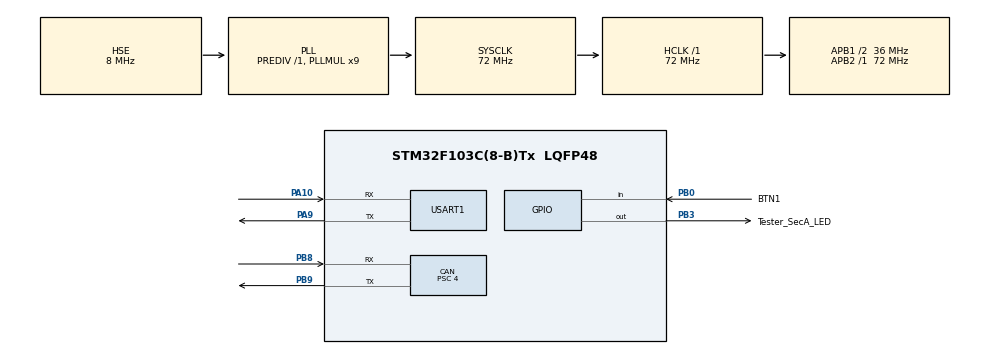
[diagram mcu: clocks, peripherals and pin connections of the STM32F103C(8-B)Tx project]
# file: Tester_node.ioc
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CAN.BS1=CAN_BS1_13TQ
CAN.BS2=CAN_BS2_4TQ
CAN.CalculateBaudRate=500000
CAN.CalculateTimeBit=2000
CAN.CalculateTimeQuantum=111.11111111111111
CAN.NART=ENABLE
CAN.Prescaler=4
CAN.SJW=CAN_SJW_2TQ
FREERTOS.Tasks01=Service_ComTask,24,256,StartService_ComTask,Default,NULL,Dynamic,NULL,NULL;ButtonTask,24,256,StartTaskButton,Default,NULL,Dynamic,NULL,NULL
Mcu.Family=STM32F1
Mcu.Name=STM32F103C(8-B)Tx
Mcu.Package=LQFP48
NVIC.CAN1_RX1_IRQn=true\:5\:0\:false\:false\:true\:true\:true\:true\:true
NVIC.PriorityGroup=NVIC_PRIORITYGROUP_4
NVIC.TIM1_UP_IRQn=true\:15\:0\:false\:false\:true\:false\:false\:true\:true
NVIC.TIM4_IRQn=true\:5\:0\:true\:false\:true\:true\:true\:true\:true
NVIC.TimeBase=TIM1_UP_IRQn
NVIC.TimeBaseIP=TIM1
NVIC.USART1_IRQn=true\:5\:0\:false\:false\:true\:true\:true\:true\:true
PA10.Mode=Asynchronous
PA10.Signal=USART1_RX
PA13.Mode=Serial_Wire
PA13.Signal=SYS_JTMS-SWDIO
PA14.Mode=Serial_Wire
PA14.Signal=SYS_JTCK-SWCLK
PA9.Mode=Asynchronous
PA9.Signal=USART1_TX
PB0.GPIO_Label=BTN1
PB0.GPIO_PuPd=GPIO_PULLUP
PB0.Signal=GPIO_Input
PB3.GPIO_Label=Tester_SecA_LED
PB3.GPIO_Speed=GPIO_SPEED_FREQ_HIGH
PB3.Signal=GPIO_Output
PB8.Mode=CAN_Activate
PB8.Signal=CAN_RX
PB9.Mode=CAN_Activate
PB9.Signal=CAN_TX
PD0-OSC_IN.Mode=HSE-External-Oscillator
PD0-OSC_IN.Signal=RCC_OSC_IN
PD1-OSC_OUT.Mode=HSE-External-Oscillator
PD1-OSC_OUT.Signal=RCC_OSC_OUT
ProjectManager.HeapSize=0x200
ProjectManager.StackSize=0x400
ProjectManager.TargetToolchain=STM32CubeIDE
RCC.AHBFreq_Value=72000000
RCC.APB1CLKDivider=RCC_HCLK_DIV2
RCC.APB1Freq_Value=36000000
RCC.APB1TimFreq_Value=72000000
RCC.APB2Freq_Value=72000000
RCC.APB2TimFreq_Value=72000000
RCC.HCLKFreq_Value=72000000
RCC.PLLMUL=RCC_PLL_MUL9
RCC.PLLSourceVirtual=RCC_PLLSOURCE_HSE
RCC.SYSCLKFreq_VALUE=72000000
RCC.SYSCLKSource=RCC_SYSCLKSOURCE_PLLCLK
RCC.USBFreq_Value=72000000
TIM4.AutoReloadPreload=TIM_AUTORELOAD_PRELOAD_ENABLE
TIM4.Period=9
TIM4.Prescaler=7199
USART1.VirtualMode=VM_ASYNC
VP_FREERTOS_VS_CMSIS_V2.Mode=CMSIS_V2
VP_SYS_VS_tim1.Mode=TIM1
VP_TIM4_VS_ClockSourceINT.Mode=Internal
board=custom

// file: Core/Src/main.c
/* USER CODE BEGIN Header */
/**
  ******************************************************************************
  * @file           : main.c
  * @brief          : Main program body
  * @identity		: Tester module
  ******************************************************************************
  * @attention
  *
  * Copyright (c) 2023 STMicroelectronics.
  * All rights reserved.
  *
  * This software is licensed under terms that can be found in the LICENSE file
  * in the root directory of this software component.
  * If no LICENSE file comes with this software, it is provided AS-IS.
  *
  ******************************************************************************
  */
/* USER CODE END Header */
#include "main.h"
#include "cmsis_os.h"

/* USER CODE BEGIN Includes */
#include "stdint.h"
#include "string.h"
#include "stdio.h"
#include "button.h"
/* USER CODE END Includes */

/* USER CODE BEGIN PTD */
//Tester module state define
typedef enum
{
	INIT_STATE,
	REQUEST_READ,
	REQUEST_WRITE,
	REQUEST_SECURITY_ACCESS,
}Tester_Status;

typedef enum
{
	REQUEST_SEED,
	SEND_KEY,
	AUTHENTICATE_RESPONSE,
}Security_Status;

typedef enum
{
	FIRSTFRAME_SEND,
	FlOWCONTROL_CHECK,
	CONSECUTIVEFRAME_SEND,
}Multiflow_Status;

typedef enum
{
	CONTINUE_TO_SEND,
	WAIT,
	OVERFLOW,
}Flow_State;

typedef enum
{
	SEND_WRITEREQUEST,
	WRITE_RESPONSE,
}Write_Status;

typedef enum
{
	NOT_PRESS,
	IS_PRESS,
}Button_Status;

/* USER CODE END PTD */

/* USER CODE BEGIN PD */
/*Diagnostic Message Format*/
#define FT_SINGLEFRAME 0x00
#define FT_FIRSTFRAME 0x10
#define FT_CONSECUTIVEFRAME 0x20
#define FT_FLOWCONTROL 0x30
/*Diagnostic Message Format*/

/*Define Data Length*/
#define KEY_LENGTH 16
/*Define Data Length*/

/* USER CODE END PD */

CAN_HandleTypeDef hcan;

TIM_HandleTypeDef htim4;

UART_HandleTypeDef huart1;

/* Definitions for Service_ComTask */
osThreadId_t Service_ComTaskHandle;
const osThreadAttr_t Service_ComTask_attributes = {
  .name = "Service_ComTask",
  .stack_size = 256 * 4,
  .priority = (osPriority_t) osPriorityNormal,
};
/* Definitions for ButtonTask */
osThreadId_t ButtonTaskHandle;
const osThreadAttr_t ButtonTask_attributes = {
  .name = "ButtonTask",
  .stack_size = 256 * 4,
  .priority = (osPriority_t) osPriorityNormal,
};
/* USER CODE BEGIN PV */
CAN_TxHeaderTypeDef Tester_TxHeader;
CAN_RxHeaderTypeDef Tester_RxHeader;

uint32_t Tester_TxMailbox;

uint8_t ReadRq_TxData[8] = {0x03,0x22,0x01,0x23,0x00,0x00,0x00,0x00};

uint8_t Tester_RxData[8];

uint8_t SecARq_TxData[8] = {0x02,0x27,0x01,0x00,0x00,0x00,0x00,0x00};
uint8_t UnlockRq_TxData[8];
uint8_t KeySend_TxData[8];
uint8_t WriteRq_TxData[8] = {0x07,0x2E,0x01,0x023,'H','A','N','A'};

uint8_t Tx_Buffer[55];

uint8_t FT_String,FrameType;

uint8_t flag_read_response = 0, security_flag = 0;
uint8_t error_flag = 0;
uint8_t request_seedsend_flag = 0;
uint8_t send_firstframe_flag = 0;

uint16_t timer_cnt = 0;
uint16_t index_array;
uint16_t prev_index_array = 0;

//---- button handle variable ----
Button_Typedef BTN1;
uint8_t button_sig = 0; //thay doi gia tri bien de doc/ ghi
//button sig = 0 -> Doc du lieu cua ECU
//button sig = 1 -> Ghi du lieu vao ECU theo co che: SecA -> Write

//khai bao bien luu trang thai hien tai cua tester
Tester_Status tester_state;
Security_Status security_state = 0;
Multiflow_Status multiflow_state = 0;
Flow_State flow_state;
Write_Status write_state;
Button_Status button_state;
Button_Typedef BTN1;

/*KEY security*/
uint8_t key[16];
/*SEED security recieve*/
uint8_t seed[4];

uint8_t MaxConsecutiveFrame_count = 16/7 + 1;
uint8_t sequence_num=1;

/* USER CODE END PV */

void SystemClock_Config(void);
static void MX_GPIO_Init(void);
static void MX_CAN_Init(void);
static void MX_TIM4_Init(void);
static void MX_USART1_UART_Init(void);
void StartService_ComTask(void *argument);
void StartTaskButton(void *argument);

/* USER CODE BEGIN PFP */
void ReadFirstFrame_handle(void);
void ConscutiveFrameRead_handle(void);
uint8_t GetFrameType(uint8_t FT_byteString);
uint8_t SF_N_PCI_FrameTypeHandle(uint8_t byteString);
void ReadSingleFrame_handle(void);
/* USER CODE END PFP */

/* USER CODE BEGIN 0 */
void button_shortpressing_callback_500ms(Button_Typedef *ButtonX)
{
	if(ButtonX == &BTN1){
		button_sig = 1;
	}
}
void button_longpressing_callback_500ms(Button_Typedef *ButtonX)
{
	if(ButtonX == &BTN1){
		button_sig = 1;
	}
}

void HAL_CAN_RxFifo1MsgPendingCallback(CAN_HandleTypeDef *hcan)
{
	if(HAL_CAN_GetRxMessage(hcan, CAN_RX_FIFO1, &Tester_RxHeader, Tester_RxData) != HAL_OK)
	{
		error_flag = 1;
	}
	else
	{
		flag_read_response = 1;
		error_flag = 0;
	}
}

uint8_t GetFrameType(uint8_t FT_byteString) //Frame type co the dung chung cho SF FF
{
	uint8_t FT_res;
	switch(FT_byteString)
	{
		case 0x00: //single frame
		{
			FT_res = 0;
			break;
		}
		case 0x01: //first frame
		{
			FT_res = 1;
			break;
		}
		case 0x02: //consecutive frame
		{
			FT_res = 2;
			break;
		}
		case 0x03: //flow control
		{
			FT_res = 3;
			break;
		}
	}
	return FT_res;
}

uint8_t SF_N_PCI_FrameTypeHandle(uint8_t byteString) //SF_PCI: Single Frame Protocol Control Info: FT + DL
{
	return (byteString >> 4) & 0x03;
}

void ReadSingleFrame_handle(void)
{
	//oled debugger - in ra du lieu vua nhan duoc thong qua single frame
	memset(Tx_Buffer,0,sizeof(Tx_Buffer)); //clear buffer before write
	sprintf((char*)Tx_Buffer,"%s",Tester_RxData);
	HAL_UART_Transmit(&huart1,Tx_Buffer,sizeof(Tx_Buffer), 10);

	HAL_Delay(200);
}

/* USER CODE END 0 */

int main(void)
{

  /* MCU Configuration--------------------------------------------------------*/

  /* Reset of all peripherals, Initializes the Flash interface and the Systick. */
  HAL_Init();

  /* Configure the system clock */
  SystemClock_Config();

  /* Initialize all configured peripherals */
  MX_GPIO_Init();
  MX_CAN_Init();
  MX_TIM4_Init();
  MX_USART1_UART_Init();
  /* USER CODE BEGIN 2 */

  HAL_CAN_Init(&hcan);

  //Send notify signal to recieve message from actuator node
  HAL_CAN_ActivateNotification(&hcan, CAN_IT_RX_FIFO1_MSG_PENDING);

  CAN_FilterTypeDef canfilterconfig;

  canfilterconfig.FilterActivation = CAN_FILTER_ENABLE;
  canfilterconfig.FilterBank = 1;  // anything between 0 to SlaveStartFilterBank
  canfilterconfig.FilterFIFOAssignment = CAN_RX_FIFO1;
  canfilterconfig.FilterIdHigh = 0x7A2 << 5;
  canfilterconfig.FilterIdLow = 0x0000;
  canfilterconfig.FilterMaskIdHigh = 0x7A2 << 5;
  canfilterconfig.FilterMaskIdLow = 0x0000;
  canfilterconfig.FilterMode = CAN_FILTERMODE_IDMASK;
  canfilterconfig.FilterScale = CAN_FILTERSCALE_32BIT;
   //canfilterconfig.SlaveStartFilterBank = 14;
  HAL_CAN_ConfigFilter(&hcan, &canfilterconfig);
  HAL_CAN_Start(&hcan);

  //Config CAN header
  Tester_TxHeader.DLC = 8;
  Tester_TxHeader.ExtId = 0;
  Tester_TxHeader.IDE = CAN_ID_STD;
  Tester_TxHeader.RTR = CAN_RTR_DATA;
  Tester_TxHeader.StdId = 0x712;
  Tester_TxHeader.TransmitGlobalTime = DISABLE;

  HAL_TIM_Base_Start_IT(&htim4);
  /* USER CODE END 2 */

  /* Init scheduler */
  osKernelInitialize();

  /* Create the thread(s) */
  /* creation of Service_ComTask */
  Service_ComTaskHandle = osThreadNew(StartService_ComTask, NULL, &Service_ComTask_attributes);

  /* creation of ButtonTask */
  ButtonTaskHandle = osThreadNew(StartTaskButton, NULL, &ButtonTask_attributes);

  /* Start scheduler */
  osKernelStart();

  /* We should never get here as control is now taken by the scheduler */
  /* Infinite loop */
  while (1)
  {

  }
}

void SystemClock_Config(void)
{
  RCC_OscInitTypeDef RCC_OscInitStruct = {0};
  RCC_ClkInitTypeDef RCC_ClkInitStruct = {0};

  /** Initializes the RCC Oscillators according to the specified parameters
  * in the RCC_OscInitTypeDef structure.
  */
  RCC_OscInitStruct.OscillatorType = RCC_OSCILLATORTYPE_HSE;
  RCC_OscInitStruct.HSEState = RCC_HSE_ON;
  RCC_OscInitStruct.HSEPredivValue = RCC_HSE_PREDIV_DIV1;
  RCC_OscInitStruct.HSIState = RCC_HSI_ON;
  RCC_OscInitStruct.PLL.PLLState = RCC_PLL_ON;
  RCC_OscInitStruct.PLL.PLLSource = RCC_PLLSOURCE_HSE;
  RCC_OscInitStruct.PLL.PLLMUL = RCC_PLL_MUL9;
  if (HAL_RCC_OscConfig(&RCC_OscInitStruct) != HAL_OK)
  {
    Error_Handler();
  }

  /** Initializes the CPU, AHB and APB buses clocks
  */
  RCC_ClkInitStruct.ClockType = RCC_CLOCKTYPE_HCLK|RCC_CLOCKTYPE_SYSCLK
                              |RCC_CLOCKTYPE_PCLK1|RCC_CLOCKTYPE_PCLK2;
  RCC_ClkInitStruct.SYSCLKSource = RCC_SYSCLKSOURCE_PLLCLK;
  RCC_ClkInitStruct.AHBCLKDivider = RCC_SYSCLK_DIV1;
  RCC_ClkInitStruct.APB1CLKDivider = RCC_HCLK_DIV2;
  RCC_ClkInitStruct.APB2CLKDivider = RCC_HCLK_DIV1;

  if (HAL_RCC_ClockConfig(&RCC_ClkInitStruct, FLASH_LATENCY_2) != HAL_OK)
  {
    Error_Handler();
  }
}

static void MX_CAN_Init(void)
{

  hcan.Instance = CAN1;
  hcan.Init.Prescaler = 4;
  hcan.Init.Mode = CAN_MODE_NORMAL;
  hcan.Init.SyncJumpWidth = CAN_SJW_2TQ;
  hcan.Init.TimeSeg1 = CAN_BS1_13TQ;
  hcan.Init.TimeSeg2 = CAN_BS2_4TQ;
  hcan.Init.TimeTriggeredMode = DISABLE;
  hcan.Init.AutoBusOff = DISABLE;
  hcan.Init.AutoWakeUp = DISABLE;
  hcan.Init.AutoRetransmission = ENABLE;
  hcan.Init.ReceiveFifoLocked = DISABLE;
  hcan.Init.TransmitFifoPriority = DISABLE;
  if (HAL_CAN_Init(&hcan) != HAL_OK)
  {
    Error_Handler();
  }

}

static void MX_TIM4_Init(void)
{

  TIM_ClockConfigTypeDef sClockSourceConfig = {0};
  TIM_MasterConfigTypeDef sMasterConfig = {0};

  htim4.Instance = TIM4;
  htim4.Init.Prescaler = 7199;
  htim4.Init.CounterMode = TIM_COUNTERMODE_UP;
  htim4.Init.Period = 9;
  htim4.Init.ClockDivision = TIM_CLOCKDIVISION_DIV1;
  htim4.Init.AutoReloadPreload = TIM_AUTORELOAD_PRELOAD_ENABLE;
  if (HAL_TIM_Base_Init(&htim4) != HAL_OK)
  {
    Error_Handler();
  }
  sClockSourceConfig.ClockSource = TIM_CLOCKSOURCE_INTERNAL;
  if (HAL_TIM_ConfigClockSource(&htim4, &sClockSourceConfig) != HAL_OK)
  {
    Error_Handler();
  }
  sMasterConfig.MasterOutputTrigger = TIM_TRGO_RESET;
  sMasterConfig.MasterSlaveMode = TIM_MASTERSLAVEMODE_DISABLE;
  if (HAL_TIMEx_MasterConfigSynchronization(&htim4, &sMasterConfig) != HAL_OK)
  {
    Error_Handler();
  }

}

static void MX_USART1_UART_Init(void)
{

  huart1.Instance = USART1;
  huart1.Init.BaudRate = 115200;
  huart1.Init.WordLength = UART_WORDLENGTH_8B;
  huart1.Init.StopBits = UART_STOPBITS_1;
  huart1.Init.Parity = UART_PARITY_NONE;
  huart1.Init.Mode = UART_MODE_TX_RX;
  huart1.Init.HwFlowCtl = UART_HWCONTROL_NONE;
  huart1.Init.OverSampling = UART_OVERSAMPLING_16;
  if (HAL_UART_Init(&huart1) != HAL_OK)
  {
    Error_Handler();
  }

}

static void MX_GPIO_Init(void)
{
  GPIO_InitTypeDef GPIO_InitStruct = {0};

  /* GPIO Ports Clock Enable */
  __HAL_RCC_GPIOD_CLK_ENABLE();
  __HAL_RCC_GPIOB_CLK_ENABLE();
  __HAL_RCC_GPIOA_CLK_ENABLE();

  /*Configure GPIO pin Output Level */
  HAL_GPIO_WritePin(Tester_SecA_LED_GPIO_Port, Tester_SecA_LED_Pin, GPIO_PIN_RESET);

  /*Configure GPIO pin : BTN1_Pin */
  GPIO_InitStruct.Pin = BTN1_Pin;
  GPIO_InitStruct.Mode = GPIO_MODE_INPUT;
  GPIO_InitStruct.Pull = GPIO_PULLUP;
  HAL_GPIO_Init(BTN1_GPIO_Port, &GPIO_InitStruct);

  /*Configure GPIO pin : Tester_SecA_LED_Pin */
  GPIO_InitStruct.Pin = Tester_SecA_LED_Pin;
  GPIO_InitStruct.Mode = GPIO_MODE_OUTPUT_PP;
  GPIO_InitStruct.Pull = GPIO_NOPULL;
  GPIO_InitStruct.Speed = GPIO_SPEED_FREQ_HIGH;
  HAL_GPIO_Init(Tester_SecA_LED_GPIO_Port, &GPIO_InitStruct);

}

void StartService_ComTask(void *argument)
{
  /* USER CODE BEGIN 5 */
  /* Infinite loop */
  for(;;)
  {
	  switch(tester_state) //change state
	  {
	  	  case INIT_STATE:
	  	  {
	  		  //check buton_state
	  		  if(button_sig==0)
	  		  {
	  			  tester_state = REQUEST_READ;
	  		  } else if(button_sig==1)
	  		  {
	  			  tester_state = REQUEST_WRITE;
	  		  }
	  		  break;
	  	  }
	  	  case REQUEST_READ: //send to ECU
	  	  {
	  		  //Gui theo chu ky 1s, tuc la cu 1 giay gui goi tin de doc 1 lan
	  		  HAL_Delay(1000);

	  		  if (HAL_CAN_AddTxMessage(&hcan, &Tester_TxHeader, ReadRq_TxData, &Tester_TxMailbox) != HAL_OK)
	  		  {
	  			  error_flag = 1;
	  		  } else //Transmit oke
	  		  {
	  			  error_flag = 0;
	  		  }

	  		  if(flag_read_response == 1) {
	  			  FT_String = SF_N_PCI_FrameTypeHandle(Tester_RxData[3]);
	  			  FrameType = GetFrameType(FT_String); //check
	  			  if(FrameType == FT_SINGLEFRAME)
	  			  {
	  				  ReadSingleFrame_handle();
	  				  tester_state = INIT_STATE;
	  			  }
	  			  flag_read_response = 0;
	  		  }
	  		  break;
	  	   }
	  	   case REQUEST_WRITE:
	  	   {
	  		   switch(write_state)
	  		   {
	  		   	   case SEND_WRITEREQUEST:
	  		   	   {
	  		   		   if(security_flag == 0)
	  		   		   {
	  		   			   tester_state = REQUEST_SECURITY_ACCESS;
	  		   		   } else if (security_flag == 1)
	  		   		   {
	  		   			   //start transmitting write request to ECU
	  		   			   if(HAL_CAN_AddTxMessage(&hcan,&Tester_TxHeader,WriteRq_TxData,&Tester_TxMailbox)!=HAL_OK)
	  		   			   {
	  		   				   error_flag = 1;
	  		   			   }else{
	  		   				   error_flag = 0;
	  		   				   write_state = WRITE_RESPONSE;
	  		   			   }
	  	 				}
	  	 				break;
	  		   	   }
	  		   	   case WRITE_RESPONSE:
	  		   	   {
	  		   		   //wait for write response
	  		   		   if(flag_read_response == 1)
	  		   		   {
	  		   			   //check frame type
	  		   			   //check what kind of response through Tester_RxData[1]
	  		   			   FT_String = SF_N_PCI_FrameTypeHandle(Tester_RxData[0]);
	  		   			   FrameType = GetFrameType(FT_String);

	  		   			   if(FrameType==0)
	  		   			   {
	  		   				   switch(Tester_RxData[1])
	  		   				   {
	  	 							case 0x6E: //positive
	  	 							{
	  	 								//do something here to know if write successful or not
	  	 								tester_state = INIT_STATE; //positive response -> get back to init state
	  	 								break;
	  	 							}
	  	 							case 0x7F: //negative
	  	 							{
	  	 								//do something here to know if write successful or not
	  	 								//what kind of negative response we receive
	  	 								tester_state = INIT_STATE;
	  	 								//negative response -> get back to init state
	  	 								break;
	  	 							}
	  		   				   }
	  		   			   }
	  		   			   flag_read_response = 0;
	  		   			   write_state = SEND_WRITEREQUEST;
	  		   		   	  }
	  		   		   break;
	  		   	   	   }
	  	 			}
	  		   break; //BREAK REQUEST WRITE CASE
	  	 	}
	  	 	case REQUEST_SECURITY_ACCESS:
	  	 	{
	  	 		switch(security_state)
	  	 		{
	  	 			case REQUEST_SEED:
	  				{
	  					switch(request_seedsend_flag)
	  					{
	  						case 0:
	  						{
	  							if(HAL_CAN_AddTxMessage(&hcan,&Tester_TxHeader,SecARq_TxData, &Tester_TxMailbox) != HAL_OK)
	  							{
	  								error_flag = 1;
	  							} else {
	  								error_flag = 0;
	  								request_seedsend_flag = 1; // co bao hieu da gui seed request
	  							}
	  							break;
	  						}
	  						case 1: //cho goi tin gui ve mang seed
	  						{
	  							if(flag_read_response)
	  							{	//calculate key before sending
	  				 				//get seed
	  				 				seed[0] = Tester_RxData[3];
	  				 				seed[1] = Tester_RxData[4];
	  				 				seed[2] = Tester_RxData[5];
	  				 				seed[3] = Tester_RxData[6];

	  				 				//calc key
	  				 				key[0] = seed[0] ^ seed[1]; //xor
	  				 				key[1] = seed[1] + seed[2];
	  				 				key[2] = seed[2] ^ seed[3];
	  				 				key[3] = seed[3] + seed[0];

	  				 				key[4] = seed[0] | seed[1];
	  				 				key[5] = seed[1] + seed[2];
	  				 				key[6] = seed[2] | seed[3];
	  				 				key[7] = seed[3] + seed[0];

	  				 				key[8] = seed[0] & seed[1];
	  				 				key[9] = seed[1] + seed[2];
	  				 				key[10] = seed[2] & seed[3];
	  				 				key[11] = seed[3] + seed[0];

	  				 				key[12] = seed[0] - seed[1];
	  				 				key[13] = seed[1] + seed[2];
	  				 				key[14] = seed[2] - seed[3];
	  				 				key[15] = seed[3] + seed[0];

	  								security_state = SEND_KEY;
	  								flag_read_response = 0;
	  								request_seedsend_flag = 0;
	  							}
	  							break;
	  						}
	  					}
	  	 				break;
	  				}
	  	 			case SEND_KEY:
	  	 			{

	  	 				switch(multiflow_state)
	  	 				{
	  	 					case FIRSTFRAME_SEND:
	  	 					{
	  	 						switch(send_firstframe_flag)
	  	 						{
	  	 							case 0:
	  	 							{
	  	 								UnlockRq_TxData[0] = 0x10;
	  	 								UnlockRq_TxData[1] = 0x16; //0-15 KEY DATA
	  	 								UnlockRq_TxData[2] = 0x27; //securiy SID
	  	 								UnlockRq_TxData[3] = 0x02; //security key - level 1

	  	 								for(index_array=0;index_array<4;index_array++)
	  	 								{
	  	 									UnlockRq_TxData[index_array+4] = key[index_array];
	  	 								}

	  	 								if(HAL_CAN_AddTxMessage(&hcan,&Tester_TxHeader,UnlockRq_TxData,&Tester_TxMailbox) != HAL_OK)
	  	 								{
	  	 									error_flag = 1;
	  	 								} else {
	  	 									error_flag = 0;
	  	 									send_firstframe_flag = 1; // co bao hieu da gui first frame
	  	 								}
	  	 								break;
	  	 							}
	  	 							case 1: //first frame has been sent
	  	 							{
	  	 								if(flag_read_response) //recieve flow control
	  	 								{
	  	 									multiflow_state = FlOWCONTROL_CHECK;
	  	 									flag_read_response = 0;
	  	 									send_firstframe_flag = 0;
	  	 								}
	  	 								break;
	  	 							}
	  	 						}
	  	 						break;
	  	 					}
	  	 					case FlOWCONTROL_CHECK:
	  	 					{
	  	 						FT_String = SF_N_PCI_FrameTypeHandle(Tester_RxData[0]);
	  	 						FrameType = GetFrameType(FT_String);
	  	 						//check flow control response data
	  	 						//phan loai frame
	  	 						if(FrameType == 3) //Frametype = 3 -> Frame nhan la Frame flow control tu Tester
	  	 						{
	  	 							//kiem tra block size
	  	 							//- ignore
	  	 							//kiem tra separation time menu
	  	 							//- ignore
	  	 							//kiem tra flow state
	  	 							switch(Tester_RxData[0] & 0x0f)
	  	 							{
	  	 							 	case CONTINUE_TO_SEND: //0x0
	  	 							 		multiflow_state = CONSECUTIVEFRAME_SEND;
	  	 							 	break;
	  	 							 	case WAIT: //0x1
	  	 							 	break;
	  	 							 	case OVERFLOW: //0x2
	  	 							 	break;
	  	 							 }

	  	 						 } else //neu nhan duoc bat kỳ frame nao khac ngoai Flow Control
	  	 						 {
	  	 							 //restart process - plan
	  	 						 }
	  	 						break;
	  	 					}
	  	 					case CONSECUTIVEFRAME_SEND:
	  	 					{
	  	 						//start transmitting remain data
	  	 						while(1){
	  	 						if(MaxConsecutiveFrame_count < sequence_num) 	//done transmitting - wait for ecu response
	  	 						{
	  	 							security_state = AUTHENTICATE_RESPONSE;
	  	 							sequence_num = 1;
	  	 							break;
	  	 						}
	  	 						KeySend_TxData[0] = FT_CONSECUTIVEFRAME + sequence_num; //0x20 FT Consecutive Frame
	  	 						for(index_array = prev_index_array;index_array<prev_index_array+7;index_array++)
	  	 						{
	  	 							if(index_array>= 16) {
	  	 								KeySend_TxData[3] = 0x00;
	  	 								KeySend_TxData[4] = 0x00;
	  	 								KeySend_TxData[5] = 0x00;
	  	 								KeySend_TxData[6] = 0x00;
	  	 								KeySend_TxData[7] = 0x00;
	  	 								break;
	  	 							} else if(index_array<16)
	  	 							{
	  	 								KeySend_TxData[(index_array-prev_index_array)+1] = key[index_array];
	  	 							}
	  	 						}
	  	 						prev_index_array = index_array;
	  	 						//start transmit CF#n. n - sequence_num
	  	 						if(HAL_CAN_AddTxMessage(&hcan,&Tester_TxHeader,KeySend_TxData,&Tester_TxMailbox) != HAL_OK)
	  	 						{
	  	 							error_flag = 1;
	  	 						} else {
	  	 								error_flag = 0;
	  	 								sequence_num++;
	  	 						}

	  	 						HAL_Delay(1500); //500ms send once CF#n
	  	 						}
	  	 						break;
	  	 					}
	  	 				}
	  	 				break; //break for SEND KEY
	  	 			}
	  	 			case AUTHENTICATE_RESPONSE:
	  	 			{
	  	 				//wait ecu response
	  	 				if(flag_read_response==1)
	  	 				{
	  	 					FT_String = SF_N_PCI_FrameTypeHandle(Tester_RxData[0]);
	  	 					FrameType = GetFrameType(FT_String);
	  	 					//check frame type
	  	 					if(FrameType == 0) //normal single frame
	  	 					{
	  	 						//check what kind of response
	  	 						if(Tester_RxData[1]==(0x27+0x40)) //positive
	  	 						{
	  	 							security_flag = 1;
	  	 							tester_state = INIT_STATE;
	  	 						} else if(Tester_RxData[1]==0x7F) //negative with invalid key error
	  	 						{
	  	 							security_flag = 0;
	  	 							//back to init state
	  	 							tester_state = INIT_STATE;
	  	 						}
	  	 					}
	  	 					ReadSingleFrame_handle(); //for debugging purpose

	  	 					flag_read_response = 0;
	  	 				}
	  	 				break;
	  	 			}
	  	 		}
	  	 		break;
	  	 	}
	  	  }
	  osDelay(1);
  } //END LOOP FOR
  /* USER CODE END 5 */
}

void StartTaskButton(void *argument)
{
  /* USER CODE BEGIN StartTaskButton */
	//button init
	button_Init(&BTN1, GPIOB, GPIO_PIN_0);
  /* Infinite loop */
  for(;;)
  {
	button_handle(&BTN1);
    osDelay(1);
  }
  /* USER CODE END StartTaskButton */
}

void HAL_TIM_PeriodElapsedCallback(TIM_HandleTypeDef *htim)
{
  /* USER CODE BEGIN Callback 0 */
	if(htim == &htim4) //behavior led function timer
	{
		if(security_flag == 1)
		{
			//turn on led
			HAL_GPIO_WritePin(GPIOB, GPIO_PIN_3,GPIO_PIN_SET);

			if(timer_cnt++==5000)
			{
				//turn off led
				HAL_GPIO_WritePin(GPIOB, GPIO_PIN_3,GPIO_PIN_RESET);
				security_flag = 0;
				button_sig = 0;
				tester_state = INIT_STATE;
				//reset timer
				timer_cnt = 0; //reset timer
			}
		}
	}
  /* USER CODE END Callback 0 */
  if (htim->Instance == TIM1) {
    HAL_IncTick();
  }
}

void Error_Handler(void)
{
  __disable_irq();
  while (1)
  {
  }
}
